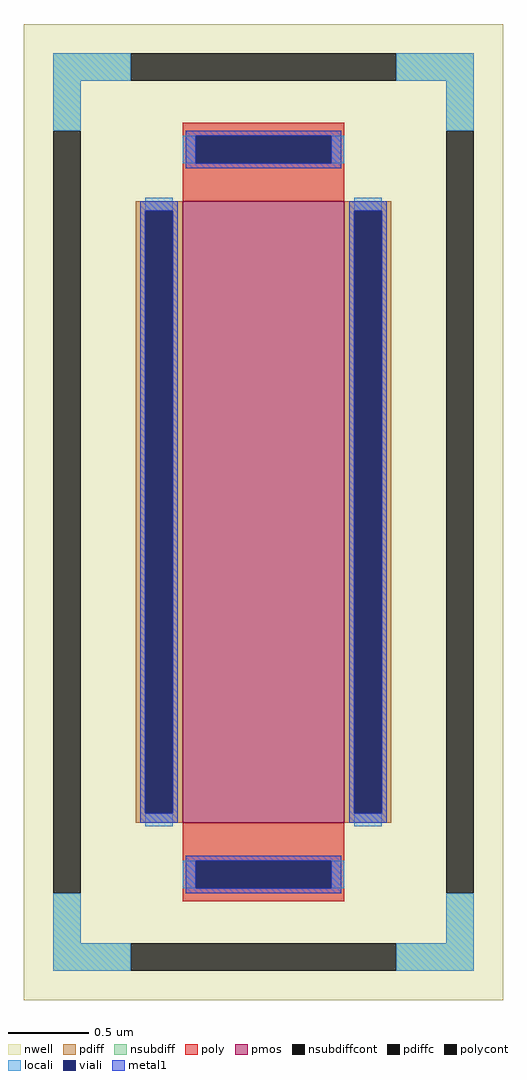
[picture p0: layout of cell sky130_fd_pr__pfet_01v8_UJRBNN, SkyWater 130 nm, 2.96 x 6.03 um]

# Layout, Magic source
magic
tech sky130B
magscale 1 2
<< nwell >>
rect -296 -603 296 603
<< pmos >>
rect -100 -384 100 384
<< pdiff >>
rect -158 372 -100 384
rect -158 -372 -146 372
rect -112 -372 -100 372
rect -158 -384 -100 -372
rect 100 372 158 384
rect 100 -372 112 372
rect 146 -372 158 372
rect 100 -384 158 -372
<< pdiffc >>
rect -146 -372 -112 372
rect 112 -372 146 372
<< nsubdiff >>
rect -260 533 -164 567
rect 164 533 260 567
rect -260 471 -226 533
rect 226 471 260 533
rect -260 -533 -226 -471
rect 226 -533 260 -471
rect -260 -567 -164 -533
rect 164 -567 260 -533
<< nsubdiffcont >>
rect -164 533 164 567
rect -260 -471 -226 471
rect 226 -471 260 471
rect -164 -567 164 -533
<< poly >>
rect -100 465 100 481
rect -100 431 -84 465
rect 84 431 100 465
rect -100 384 100 431
rect -100 -431 100 -384
rect -100 -465 -84 -431
rect 84 -465 100 -431
rect -100 -481 100 -465
<< polycont >>
rect -84 431 84 465
rect -84 -465 84 -431
<< locali >>
rect -260 533 -164 567
rect 164 533 260 567
rect -260 471 -226 533
rect 226 471 260 533
rect -100 431 -84 465
rect 84 431 100 465
rect -146 372 -112 388
rect -146 -388 -112 -372
rect 112 372 146 388
rect 112 -388 146 -372
rect -100 -465 -84 -431
rect 84 -465 100 -431
rect -260 -533 -226 -471
rect 226 -533 260 -471
rect -260 -567 -164 -533
rect 164 -567 260 -533
<< viali >>
rect -84 431 84 465
rect -146 -372 -112 372
rect 112 -372 146 372
rect -84 -465 84 -431
<< metal1 >>
rect -96 465 96 471
rect -96 431 -84 465
rect 84 431 96 465
rect -96 425 96 431
rect -152 372 -106 384
rect -152 -372 -146 372
rect -112 -372 -106 372
rect -152 -384 -106 -372
rect 106 372 152 384
rect 106 -372 112 372
rect 146 -372 152 372
rect 106 -384 152 -372
rect -96 -431 96 -425
rect -96 -465 -84 -431
rect 84 -465 96 -431
rect -96 -471 96 -465
<< properties >>
string FIXED_BBOX -243 -550 243 550
string gencell sky130_fd_pr__pfet_01v8
string library sky130
string parameters w 3.84 l 1 m 1 nf 1 diffcov 100 polycov 100 guard 1 glc 1 grc 1 gtc 1 gbc 1 tbcov 100 rlcov 100 topc 1 botc 1 poverlap 0 doverlap 1 lmin 0.15 wmin 0.42 compatible {sky130_fd_pr__pfet_01v8  sky130_fd_pr__pfet_01v8_lvt sky130_fd_pr__pfet_01v8_hvt  sky130_fd_pr__pfet_g5v0d10v5} full_metal 1 viasrc 100 viadrn 100 viagate 100 viagb 0 viagr 0 viagl 0 viagt 0
<< end >>
